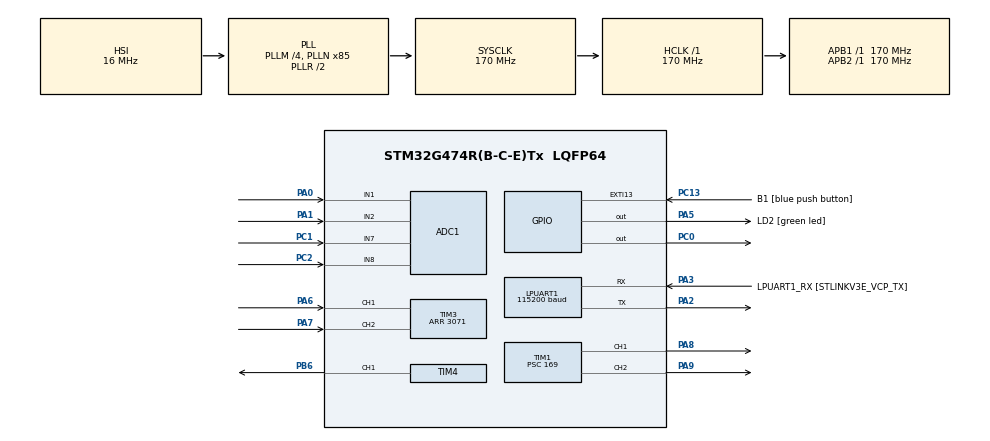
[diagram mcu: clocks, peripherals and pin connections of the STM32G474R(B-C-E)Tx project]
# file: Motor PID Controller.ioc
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ADC1.Channel-0\#ChannelRegularConversion=ADC_CHANNEL_1
ADC1.Channel-2\#ChannelRegularConversion=ADC_CHANNEL_2
ADC1.ContinuousConvMode=ENABLE
ADC1.DMAContinuousRequests=ENABLE
ADC1.ExternalTrigConv=ADC_EXTERNALTRIG_T15_TRGO
ADC1.NbrOfConversion=2
ADC1.NbrOfConversionFlag=1
ADC1.OffsetNumber-0\#ChannelRegularConversion=ADC_OFFSET_NONE
ADC1.OffsetNumber-2\#ChannelRegularConversion=ADC_OFFSET_NONE
ADC1.Rank-0\#ChannelRegularConversion=1
ADC1.Rank-2\#ChannelRegularConversion=2
ADC1.SamplingTime-0\#ChannelRegularConversion=ADC_SAMPLETIME_640CYCLES_5
ADC1.SamplingTime-2\#ChannelRegularConversion=ADC_SAMPLETIME_640CYCLES_5
ADC1.master=1
ARM.CMSIS-DSP.1.15.0.CMSISJjDSP=Source
ARM.CMSIS.6.0.0.CMSISJjCORE=true
Dma.ADC1.0.Direction=DMA_PERIPH_TO_MEMORY
Dma.ADC1.0.EventEnable=DISABLE
Dma.ADC1.0.Instance=DMA2_Channel1
Dma.ADC1.0.MemDataAlignment=DMA_MDATAALIGN_HALFWORD
Dma.ADC1.0.MemInc=DMA_MINC_ENABLE
Dma.ADC1.0.Mode=DMA_CIRCULAR
Dma.ADC1.0.PeriphDataAlignment=DMA_PDATAALIGN_HALFWORD
Dma.ADC1.0.PeriphInc=DMA_PINC_DISABLE
Dma.ADC1.0.Polarity=HAL_DMAMUX_REQ_GEN_RISING
Dma.ADC1.0.Priority=DMA_PRIORITY_LOW
Dma.ADC1.0.RequestNumber=1
Dma.ADC1.0.SignalID=NONE
Dma.ADC1.0.SyncEnable=DISABLE
Dma.ADC1.0.SyncPolarity=HAL_DMAMUX_SYNC_NO_EVENT
Dma.ADC1.0.SyncRequestNumber=1
Dma.ADC1.0.SyncSignalID=NONE
Dma.LPUART1_RX.1.Direction=DMA_PERIPH_TO_MEMORY
Dma.LPUART1_RX.1.EventEnable=DISABLE
Dma.LPUART1_RX.1.Instance=DMA1_Channel1
Dma.LPUART1_RX.1.MemDataAlignment=DMA_MDATAALIGN_BYTE
Dma.LPUART1_RX.1.MemInc=DMA_MINC_ENABLE
Dma.LPUART1_RX.1.Mode=DMA_CIRCULAR
Dma.LPUART1_RX.1.PeriphDataAlignment=DMA_PDATAALIGN_BYTE
Dma.LPUART1_RX.1.PeriphInc=DMA_PINC_DISABLE
Dma.LPUART1_RX.1.Polarity=HAL_DMAMUX_REQ_GEN_RISING
Dma.LPUART1_RX.1.Priority=DMA_PRIORITY_LOW
Dma.LPUART1_RX.1.RequestNumber=1
Dma.LPUART1_RX.1.SignalID=NONE
Dma.LPUART1_RX.1.SyncEnable=DISABLE
Dma.LPUART1_RX.1.SyncPolarity=HAL_DMAMUX_SYNC_NO_EVENT
Dma.LPUART1_RX.1.SyncRequestNumber=1
Dma.LPUART1_RX.1.SyncSignalID=NONE
Dma.LPUART1_TX.2.Direction=DMA_MEMORY_TO_PERIPH
Dma.LPUART1_TX.2.EventEnable=DISABLE
Dma.LPUART1_TX.2.Instance=DMA1_Channel2
Dma.LPUART1_TX.2.MemDataAlignment=DMA_MDATAALIGN_BYTE
Dma.LPUART1_TX.2.MemInc=DMA_MINC_ENABLE
Dma.LPUART1_TX.2.Mode=DMA_NORMAL
Dma.LPUART1_TX.2.PeriphDataAlignment=DMA_PDATAALIGN_BYTE
Dma.LPUART1_TX.2.PeriphInc=DMA_PINC_DISABLE
Dma.LPUART1_TX.2.Polarity=HAL_DMAMUX_REQ_GEN_RISING
Dma.LPUART1_TX.2.Priority=DMA_PRIORITY_LOW
Dma.LPUART1_TX.2.RequestNumber=1
Dma.LPUART1_TX.2.SignalID=NONE
Dma.LPUART1_TX.2.SyncEnable=DISABLE
Dma.LPUART1_TX.2.SyncPolarity=HAL_DMAMUX_SYNC_NO_EVENT
Dma.LPUART1_TX.2.SyncRequestNumber=1
Dma.LPUART1_TX.2.SyncSignalID=NONE
Dma.Request0=ADC1
Dma.Request1=LPUART1_RX
Dma.Request2=LPUART1_TX
LPUART1.BaudRate=115200
Mcu.Family=STM32G4
Mcu.Name=STM32G474R(B-C-E)Tx
Mcu.Package=LQFP64
NVIC.ADC1_2_IRQn=true\:0\:0\:false\:false\:true\:true\:true\:true
NVIC.DMA1_Channel1_IRQn=true\:0\:0\:false\:false\:true\:false\:true\:true
NVIC.DMA1_Channel2_IRQn=true\:0\:0\:false\:false\:true\:false\:true\:true
NVIC.DMA2_Channel1_IRQn=true\:0\:0\:false\:false\:true\:false\:true\:true
NVIC.EXTI15_10_IRQn=true\:0\:0\:false\:false\:true\:true\:true\:true
NVIC.LPUART1_IRQn=true\:0\:0\:false\:false\:true\:true\:true\:true
NVIC.PriorityGroup=NVIC_PRIORITYGROUP_4
NVIC.TIM1_BRK_TIM15_IRQn=true\:0\:0\:false\:false\:true\:true\:true\:true
NVIC.TIM2_IRQn=true\:0\:0\:false\:false\:true\:true\:true\:true
PA0.Mode=IN1-Single-Ended
PA0.Signal=ADC1_IN1
PA1.Mode=IN2-Single-Ended
PA1.Signal=ADC1_IN2
PA13.GPIO_Label=T_SWDIO
PA13.Mode=Serial_Wire
PA13.Signal=SYS_JTMS-SWDIO
PA14.GPIO_Label=T_SWCLK
PA14.Mode=Serial_Wire
PA14.Signal=SYS_JTCK-SWCLK
PA2.Mode=Asynchronous
PA2.Signal=LPUART1_TX
PA3.GPIO_Label=LPUART1_RX [STLINKV3E_VCP_TX]
PA3.Mode=Asynchronous
PA3.Signal=LPUART1_RX
PA5.GPIO_Label=LD2 [green led]
PA5.Signal=GPIO_Output
PA6.Signal=S_TIM3_CH1
PA7.Signal=S_TIM3_CH2
PA8.Signal=S_TIM1_CH1
PA9.Signal=S_TIM1_CH2
PB3.GPIO_Label=T_SWO
PB3.Signal=SYS_JTDO-SWO
PB6.Signal=S_TIM4_CH1
PC0.Signal=GPIO_Output
PC1.Mode=IN7-Differential
PC1.Signal=ADC1_IN7
PC13.GPIO_Label=B1 [blue push button]
PC13.Signal=GPXTI13
PC14-OSC32_IN.Mode=LSE-External-Oscillator
PC14-OSC32_IN.Signal=RCC_OSC32_IN
PC15-OSC32_OUT.Mode=LSE-External-Oscillator
PC15-OSC32_OUT.Signal=RCC_OSC32_OUT
PC2.Mode=IN7-Differential
PC2.Signal=ADC1_IN8
PF0-OSC_IN.Mode=HSE-External-Oscillator
PF0-OSC_IN.Signal=RCC_OSC_IN
PF1-OSC_OUT.Mode=HSE-External-Oscillator
PF1-OSC_OUT.Signal=RCC_OSC_OUT
ProjectManager.HeapSize=0x200
ProjectManager.StackSize=0x400
ProjectManager.TargetToolchain=STM32CubeIDE
RCC.ADC12Freq_Value=170000000
RCC.ADC345Freq_Value=170000000
RCC.AHBFreq_Value=170000000
RCC.APB1Freq_Value=170000000
RCC.APB1TimFreq_Value=170000000
RCC.APB2Freq_Value=170000000
RCC.APB2TimFreq_Value=170000000
RCC.CortexFreq_Value=170000000
RCC.EXTERNAL_CLOCK_VALUE=12288000
RCC.HCLKFreq_Value=170000000
RCC.HSE_VALUE=24000000
RCC.HSI48_VALUE=48000000
RCC.HSI_VALUE=16000000
RCC.PLLM=RCC_PLLM_DIV4
RCC.PLLN=85
RCC.RTCClockSelection=RCC_RTCCLKSOURCE_LSE
RCC.SYSCLKFreq_VALUE=170000000
RCC.SYSCLKSource=RCC_SYSCLKSOURCE_PLLCLK
RCC.USBFreq_Value=170000000
RCC.VCOOutputFreq_Value=340000000
SH.S_TIM1_CH1.0=TIM1_CH1,PWM Generation1 CH1
SH.S_TIM1_CH2.0=TIM1_CH2,PWM Generation2 CH2
SH.S_TIM3_CH1.0=TIM3_CH1,Encoder_Interface
SH.S_TIM3_CH2.0=TIM3_CH2,Encoder_Interface
SH.S_TIM4_CH1.0=TIM4_CH1,PWM Generation1 CH1
TIM1.Channel-PWM\ Generation1\ CH1=TIM_CHANNEL_1
TIM1.Channel-PWM\ Generation2\ CH2=TIM_CHANNEL_2
TIM1.PeriodNoDither=999
TIM1.Prescaler=169
TIM15.PeriodNoDither=999
TIM15.Prescaler=169
TIM15.TIM_MasterOutputTrigger=TIM_TRGO_UPDATE
TIM2.PeriodNoDither=999
TIM2.Prescaler=169
TIM3.EncoderMode=TIM_ENCODERMODE_TI12
TIM3.PeriodNoDither=3071
TIM4.Channel-PWM\ Generation1\ CH1=TIM_CHANNEL_1
TIM4.PeriodNoDither=999
TIM4.Prescaler=169
TIM5.Prescaler=169
VP_ARM.CMSIS-DSP_VS_CMSISJjDSP_1.15.0_1.15.0.Mode=CMSISJjDSP
VP_ARM.CMSIS_VS_CMSISJjCORE_6.0.0_6.0.0.Mode=CMSISJjCORE
VP_SYS_VS_DBSignals.Mode=DisableDeadBatterySignals
VP_TIM15_VS_ClockSourceINT.Mode=Internal
VP_TIM2_VS_ClockSourceINT.Mode=Internal
VP_TIM5_VS_ClockSourceINT.Mode=Internal
board=NUCLEO-G474RE

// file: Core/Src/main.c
/* USER CODE BEGIN Header */
/**
 ******************************************************************************
 * @file           : main.c
 * @brief          : Main program body
 ******************************************************************************
 * @attention
 *
 * Copyright (c) 2024 STMicroelectronics.
 * All rights reserved.
 *
 * This software is licensed under terms that can be found in the LICENSE file
 * in the root directory of this software component.
 * If no LICENSE file comes with this software, it is provided AS-IS.
 *
 ******************************************************************************
 */
/* USER CODE END Header */
#include "main.h"

/* USER CODE BEGIN Includes */
#include "arm_math.h"
#include "math.h"
#include "stdio.h"
#include "string.h"

/* USER CODE END Includes */

ADC_HandleTypeDef hadc1;
DMA_HandleTypeDef hdma_adc1;

UART_HandleTypeDef hlpuart1;
DMA_HandleTypeDef hdma_lpuart1_rx;
DMA_HandleTypeDef hdma_lpuart1_tx;

TIM_HandleTypeDef htim1;
TIM_HandleTypeDef htim2;
TIM_HandleTypeDef htim3;
TIM_HandleTypeDef htim4;
TIM_HandleTypeDef htim5;
TIM_HandleTypeDef htim15;

/* USER CODE BEGIN PV */
//-------------------------------Part1&3:Motor PID-------------------------------//
int mode_status = 1;

uint64_t _micros = 0;
uint16_t InputRead[400] = { 0 };
uint64_t sumEncode = 0;
uint64_t sumTrimpot = 0;
uint64_t sumTrimpot2 = 0;

uint32_t avgEncode = 0;
uint16_t avgTrimpot = 0;
uint16_t avgTrimpot2 = 0;
uint16_t test = 0;
int16_t RxInt = 0;

float cmd = 0;
float cmd_1 = 0;

int16_t Error = 0;
int16_t Error_1 = 0;
int16_t Error_2 = 0;

int16_t directError = 0;

uint16_t PWM = 0;
uint8_t direction = 0;
int16_t wrappedError = 0;

float Kp = 0.5;
float Ki = 0.00015;
float Kd = 0.000001;
float A0 = 0;
float A1 = 0;
float A2 = 0;

uint8_t TxBuffer[4];
int8_t RxBuffer[4];
uint8_t HigherPos = 0;
uint8_t LowerPos = 0;

/* direction = 0 error -
 direction = 1 error +
 */

arm_pid_instance_f32 PID = { 0 };
//-------------------------------------------------------------------------------//
//----------------------------------Part2:QEI------------------------------------//
uint32_t QEIReadRaw;
uint16_t ADC[400] = { 0 };
int sumA = 0;
int avgA = 0;

int Trim = 0;

int InA = 0;
int InB = 0;

int16_t period = 1000;
int16_t duty = 0;
int16_t x = 0;

float deg = 0;
float rad = 0;

int16_t error = 0;
float sum_e = 0;

float Kp_QEI = 0.5;
float Ki_QEI = 0.1;
float Kd_QEI = 0.001;

float error_p = 0;
float u = 0;

float pu1 = 0;
float pe1 = 0;
float pe2 = 0;
float delta_u = 0;

/* USER CODE END PV */

void SystemClock_Config(void);
static void MX_GPIO_Init(void);
static void MX_DMA_Init(void);
static void MX_TIM3_Init(void);
static void MX_ADC1_Init(void);
static void MX_TIM15_Init(void);
static void MX_TIM5_Init(void);
static void MX_TIM4_Init(void);
static void MX_LPUART1_UART_Init(void);
static void MX_TIM1_Init(void);
static void MX_TIM2_Init(void);
/* USER CODE BEGIN PFP */
void Mode_LD2();
//-------------------------------Part1&3:Motor PID-------------------------------//
uint64_t micros();
void PIDcalculate();
void motorControl();
void Communication();
void UARTDMAconfig();
void updateInput();
//-------------------------------------------------------------------------------//
//----------------------------------Part2:QEI------------------------------------//
void motor();
void PID_QEI();
void ER();
void PID2();
/* USER CODE END PFP */

int main(void)
{

  /* MCU Configuration--------------------------------------------------------*/

  /* Reset of all peripherals, Initializes the Flash interface and the Systick. */
  HAL_Init();

  /* Configure the system clock */
  SystemClock_Config();

  /* Initialize all configured peripherals */
  MX_GPIO_Init();
  MX_DMA_Init();
  MX_TIM3_Init();
  MX_ADC1_Init();
  MX_TIM15_Init();
  MX_TIM5_Init();
  MX_TIM4_Init();
  MX_LPUART1_UART_Init();
  MX_TIM1_Init();
  MX_TIM2_Init();
  /* USER CODE BEGIN 2 */
	//-------------------------------Part1&3:Motor PID-------------------------------//
	UARTDMAconfig();

//	HAL_UART_Receive_DMA(&hlpuart1, RxBuffer, 4);
	HAL_ADC_Start_DMA(&hadc1, InputRead, 400); // DMA Read
	HAL_TIM_Base_Start_IT(&htim15);
	HAL_TIM_Base_Start(&htim5); // system time clock

	HAL_TIM_Base_Start(&htim4);  //motor A2
	HAL_TIM_PWM_Start(&htim4, TIM_CHANNEL_1);

	__HAL_TIM_SET_COMPARE(&htim4, TIM_CHANNEL_1, 0); //for Check Timer

	HAL_GPIO_WritePin(GPIOC, GPIO_PIN_0, SET);
	//-------------------------------------------------------------------------------//
	//----------------------------------Part2:QEI------------------------------------//
	HAL_TIM_Base_Start(&htim3);
	HAL_TIM_Encoder_Start(&htim3, TIM_CHANNEL_ALL);

	HAL_TIM_Base_Start_IT(&htim2);
	HAL_TIM_Base_Start(&htim2);

	HAL_TIM_Base_Start(&htim1);
	HAL_TIM_PWM_Start(&htim1, TIM_CHANNEL_1);
	HAL_TIM_PWM_Start(&htim1, TIM_CHANNEL_2);

	HAL_ADC_Start_DMA(&hadc1, ADC, 400);
	//-------------------------------------------------------------------------------//
  /* USER CODE END 2 */

  /* Infinite loop */
	while (1) {

    /* USER CODE BEGIN 3 */
//	  test = __HAL_TIM_GET_COUNTER(&htim5);
		Mode_LD2();
		Communication();
		//QEIReadRaw = __HAL_TIM_GET_COUNTER(&htim3);
		if (mode_status == 1) {
			//PWM = 0;

			duty = 0;
		} else if (mode_status == 2) {
			PWM = 0;
			PID_QEI();

		} else if (mode_status == 3) {
			PWM = abs(RxInt);
			duty = 0;
			if (RxInt >= 0)
				direction = 1;
			else
				direction = 0;
		}
		motorControl();
		motor();

		//updateInput();

	}
  /* USER CODE END 3 */
}

void SystemClock_Config(void)
{
  RCC_OscInitTypeDef RCC_OscInitStruct = {0};
  RCC_ClkInitTypeDef RCC_ClkInitStruct = {0};

  /** Configure the main internal regulator output voltage
  */
  HAL_PWREx_ControlVoltageScaling(PWR_REGULATOR_VOLTAGE_SCALE1_BOOST);

  /** Initializes the RCC Oscillators according to the specified parameters
  * in the RCC_OscInitTypeDef structure.
  */
  RCC_OscInitStruct.OscillatorType = RCC_OSCILLATORTYPE_HSI;
  RCC_OscInitStruct.HSIState = RCC_HSI_ON;
  RCC_OscInitStruct.HSICalibrationValue = RCC_HSICALIBRATION_DEFAULT;
  RCC_OscInitStruct.PLL.PLLState = RCC_PLL_ON;
  RCC_OscInitStruct.PLL.PLLSource = RCC_PLLSOURCE_HSI;
  RCC_OscInitStruct.PLL.PLLM = RCC_PLLM_DIV4;
  RCC_OscInitStruct.PLL.PLLN = 85;
  RCC_OscInitStruct.PLL.PLLP = RCC_PLLP_DIV2;
  RCC_OscInitStruct.PLL.PLLQ = RCC_PLLQ_DIV2;
  RCC_OscInitStruct.PLL.PLLR = RCC_PLLR_DIV2;
  if (HAL_RCC_OscConfig(&RCC_OscInitStruct) != HAL_OK)
  {
    Error_Handler();
  }

  /** Initializes the CPU, AHB and APB buses clocks
  */
  RCC_ClkInitStruct.ClockType = RCC_CLOCKTYPE_HCLK|RCC_CLOCKTYPE_SYSCLK
                              |RCC_CLOCKTYPE_PCLK1|RCC_CLOCKTYPE_PCLK2;
  RCC_ClkInitStruct.SYSCLKSource = RCC_SYSCLKSOURCE_PLLCLK;
  RCC_ClkInitStruct.AHBCLKDivider = RCC_SYSCLK_DIV1;
  RCC_ClkInitStruct.APB1CLKDivider = RCC_HCLK_DIV1;
  RCC_ClkInitStruct.APB2CLKDivider = RCC_HCLK_DIV1;

  if (HAL_RCC_ClockConfig(&RCC_ClkInitStruct, FLASH_LATENCY_4) != HAL_OK)
  {
    Error_Handler();
  }
}

static void MX_ADC1_Init(void)
{

  ADC_MultiModeTypeDef multimode = {0};
  ADC_ChannelConfTypeDef sConfig = {0};

  /** Common config
  */
  hadc1.Instance = ADC1;
  hadc1.Init.ClockPrescaler = ADC_CLOCK_SYNC_PCLK_DIV4;
  hadc1.Init.Resolution = ADC_RESOLUTION_12B;
  hadc1.Init.DataAlign = ADC_DATAALIGN_RIGHT;
  hadc1.Init.GainCompensation = 0;
  hadc1.Init.ScanConvMode = ADC_SCAN_ENABLE;
  hadc1.Init.EOCSelection = ADC_EOC_SINGLE_CONV;
  hadc1.Init.LowPowerAutoWait = DISABLE;
  hadc1.Init.ContinuousConvMode = ENABLE;
  hadc1.Init.NbrOfConversion = 2;
  hadc1.Init.DiscontinuousConvMode = DISABLE;
  hadc1.Init.ExternalTrigConv = ADC_EXTERNALTRIG_T15_TRGO;
  hadc1.Init.ExternalTrigConvEdge = ADC_EXTERNALTRIGCONVEDGE_RISING;
  hadc1.Init.DMAContinuousRequests = ENABLE;
  hadc1.Init.Overrun = ADC_OVR_DATA_PRESERVED;
  hadc1.Init.OversamplingMode = DISABLE;
  if (HAL_ADC_Init(&hadc1) != HAL_OK)
  {
    Error_Handler();
  }

  /** Configure the ADC multi-mode
  */
  multimode.Mode = ADC_MODE_INDEPENDENT;
  if (HAL_ADCEx_MultiModeConfigChannel(&hadc1, &multimode) != HAL_OK)
  {
    Error_Handler();
  }

  /** Configure Regular Channel
  */
  sConfig.Channel = ADC_CHANNEL_1;
  sConfig.Rank = ADC_REGULAR_RANK_1;
  sConfig.SamplingTime = ADC_SAMPLETIME_640CYCLES_5;
  sConfig.SingleDiff = ADC_SINGLE_ENDED;
  sConfig.OffsetNumber = ADC_OFFSET_NONE;
  sConfig.Offset = 0;
  if (HAL_ADC_ConfigChannel(&hadc1, &sConfig) != HAL_OK)
  {
    Error_Handler();
  }

  /** Configure Regular Channel
  */
  sConfig.Channel = ADC_CHANNEL_2;
  sConfig.Rank = ADC_REGULAR_RANK_2;
  if (HAL_ADC_ConfigChannel(&hadc1, &sConfig) != HAL_OK)
  {
    Error_Handler();
  }

}

static void MX_LPUART1_UART_Init(void)
{

  hlpuart1.Instance = LPUART1;
  hlpuart1.Init.BaudRate = 115200;
  hlpuart1.Init.WordLength = UART_WORDLENGTH_8B;
  hlpuart1.Init.StopBits = UART_STOPBITS_1;
  hlpuart1.Init.Parity = UART_PARITY_NONE;
  hlpuart1.Init.Mode = UART_MODE_TX_RX;
  hlpuart1.Init.HwFlowCtl = UART_HWCONTROL_NONE;
  hlpuart1.Init.OneBitSampling = UART_ONE_BIT_SAMPLE_DISABLE;
  hlpuart1.Init.ClockPrescaler = UART_PRESCALER_DIV1;
  hlpuart1.AdvancedInit.AdvFeatureInit = UART_ADVFEATURE_NO_INIT;
  if (HAL_UART_Init(&hlpuart1) != HAL_OK)
  {
    Error_Handler();
  }
  if (HAL_UARTEx_SetTxFifoThreshold(&hlpuart1, UART_TXFIFO_THRESHOLD_1_8) != HAL_OK)
  {
    Error_Handler();
  }
  if (HAL_UARTEx_SetRxFifoThreshold(&hlpuart1, UART_RXFIFO_THRESHOLD_1_8) != HAL_OK)
  {
    Error_Handler();
  }
  if (HAL_UARTEx_DisableFifoMode(&hlpuart1) != HAL_OK)
  {
    Error_Handler();
  }

}

static void MX_TIM1_Init(void)
{

  TIM_MasterConfigTypeDef sMasterConfig = {0};
  TIM_OC_InitTypeDef sConfigOC = {0};
  TIM_BreakDeadTimeConfigTypeDef sBreakDeadTimeConfig = {0};

  htim1.Instance = TIM1;
  htim1.Init.Prescaler = 169;
  htim1.Init.CounterMode = TIM_COUNTERMODE_UP;
  htim1.Init.Period = 999;
  htim1.Init.ClockDivision = TIM_CLOCKDIVISION_DIV1;
  htim1.Init.RepetitionCounter = 0;
  htim1.Init.AutoReloadPreload = TIM_AUTORELOAD_PRELOAD_DISABLE;
  if (HAL_TIM_PWM_Init(&htim1) != HAL_OK)
  {
    Error_Handler();
  }
  sMasterConfig.MasterOutputTrigger = TIM_TRGO_RESET;
  sMasterConfig.MasterOutputTrigger2 = TIM_TRGO2_RESET;
  sMasterConfig.MasterSlaveMode = TIM_MASTERSLAVEMODE_DISABLE;
  if (HAL_TIMEx_MasterConfigSynchronization(&htim1, &sMasterConfig) != HAL_OK)
  {
    Error_Handler();
  }
  sConfigOC.OCMode = TIM_OCMODE_PWM1;
  sConfigOC.Pulse = 0;
  sConfigOC.OCPolarity = TIM_OCPOLARITY_HIGH;
  sConfigOC.OCNPolarity = TIM_OCNPOLARITY_HIGH;
  sConfigOC.OCFastMode = TIM_OCFAST_DISABLE;
  sConfigOC.OCIdleState = TIM_OCIDLESTATE_RESET;
  sConfigOC.OCNIdleState = TIM_OCNIDLESTATE_RESET;
  if (HAL_TIM_PWM_ConfigChannel(&htim1, &sConfigOC, TIM_CHANNEL_1) != HAL_OK)
  {
    Error_Handler();
  }
  if (HAL_TIM_PWM_ConfigChannel(&htim1, &sConfigOC, TIM_CHANNEL_2) != HAL_OK)
  {
    Error_Handler();
  }
  sBreakDeadTimeConfig.OffStateRunMode = TIM_OSSR_DISABLE;
  sBreakDeadTimeConfig.OffStateIDLEMode = TIM_OSSI_DISABLE;
  sBreakDeadTimeConfig.LockLevel = TIM_LOCKLEVEL_OFF;
  sBreakDeadTimeConfig.DeadTime = 0;
  sBreakDeadTimeConfig.BreakState = TIM_BREAK_DISABLE;
  sBreakDeadTimeConfig.BreakPolarity = TIM_BREAKPOLARITY_HIGH;
  sBreakDeadTimeConfig.BreakFilter = 0;
  sBreakDeadTimeConfig.BreakAFMode = TIM_BREAK_AFMODE_INPUT;
  sBreakDeadTimeConfig.Break2State = TIM_BREAK2_DISABLE;
  sBreakDeadTimeConfig.Break2Polarity = TIM_BREAK2POLARITY_HIGH;
  sBreakDeadTimeConfig.Break2Filter = 0;
  sBreakDeadTimeConfig.Break2AFMode = TIM_BREAK_AFMODE_INPUT;
  sBreakDeadTimeConfig.AutomaticOutput = TIM_AUTOMATICOUTPUT_DISABLE;
  if (HAL_TIMEx_ConfigBreakDeadTime(&htim1, &sBreakDeadTimeConfig) != HAL_OK)
  {
    Error_Handler();
  }
  HAL_TIM_MspPostInit(&htim1);

}

static void MX_TIM2_Init(void)
{

  TIM_ClockConfigTypeDef sClockSourceConfig = {0};
  TIM_MasterConfigTypeDef sMasterConfig = {0};

  htim2.Instance = TIM2;
  htim2.Init.Prescaler = 169;
  htim2.Init.CounterMode = TIM_COUNTERMODE_UP;
  htim2.Init.Period = 999;
  htim2.Init.ClockDivision = TIM_CLOCKDIVISION_DIV1;
  htim2.Init.AutoReloadPreload = TIM_AUTORELOAD_PRELOAD_DISABLE;
  if (HAL_TIM_Base_Init(&htim2) != HAL_OK)
  {
    Error_Handler();
  }
  sClockSourceConfig.ClockSource = TIM_CLOCKSOURCE_INTERNAL;
  if (HAL_TIM_ConfigClockSource(&htim2, &sClockSourceConfig) != HAL_OK)
  {
    Error_Handler();
  }
  sMasterConfig.MasterOutputTrigger = TIM_TRGO_RESET;
  sMasterConfig.MasterSlaveMode = TIM_MASTERSLAVEMODE_DISABLE;
  if (HAL_TIMEx_MasterConfigSynchronization(&htim2, &sMasterConfig) != HAL_OK)
  {
    Error_Handler();
  }

}

static void MX_TIM3_Init(void)
{

  TIM_Encoder_InitTypeDef sConfig = {0};
  TIM_MasterConfigTypeDef sMasterConfig = {0};

  htim3.Instance = TIM3;
  htim3.Init.Prescaler = 0;
  htim3.Init.CounterMode = TIM_COUNTERMODE_UP;
  htim3.Init.Period = 3071;
  htim3.Init.ClockDivision = TIM_CLOCKDIVISION_DIV1;
  htim3.Init.AutoReloadPreload = TIM_AUTORELOAD_PRELOAD_DISABLE;
  sConfig.EncoderMode = TIM_ENCODERMODE_TI12;
  sConfig.IC1Polarity = TIM_ICPOLARITY_RISING;
  sConfig.IC1Selection = TIM_ICSELECTION_DIRECTTI;
  sConfig.IC1Prescaler = TIM_ICPSC_DIV1;
  sConfig.IC1Filter = 0;
  sConfig.IC2Polarity = TIM_ICPOLARITY_RISING;
  sConfig.IC2Selection = TIM_ICSELECTION_DIRECTTI;
  sConfig.IC2Prescaler = TIM_ICPSC_DIV1;
  sConfig.IC2Filter = 0;
  if (HAL_TIM_Encoder_Init(&htim3, &sConfig) != HAL_OK)
  {
    Error_Handler();
  }
  sMasterConfig.MasterOutputTrigger = TIM_TRGO_RESET;
  sMasterConfig.MasterSlaveMode = TIM_MASTERSLAVEMODE_DISABLE;
  if (HAL_TIMEx_MasterConfigSynchronization(&htim3, &sMasterConfig) != HAL_OK)
  {
    Error_Handler();
  }

}

static void MX_TIM4_Init(void)
{

  TIM_MasterConfigTypeDef sMasterConfig = {0};
  TIM_OC_InitTypeDef sConfigOC = {0};

  htim4.Instance = TIM4;
  htim4.Init.Prescaler = 169;
  htim4.Init.CounterMode = TIM_COUNTERMODE_UP;
  htim4.Init.Period = 999;
  htim4.Init.ClockDivision = TIM_CLOCKDIVISION_DIV1;
  htim4.Init.AutoReloadPreload = TIM_AUTORELOAD_PRELOAD_DISABLE;
  if (HAL_TIM_PWM_Init(&htim4) != HAL_OK)
  {
    Error_Handler();
  }
  sMasterConfig.MasterOutputTrigger = TIM_TRGO_RESET;
  sMasterConfig.MasterSlaveMode = TIM_MASTERSLAVEMODE_DISABLE;
  if (HAL_TIMEx_MasterConfigSynchronization(&htim4, &sMasterConfig) != HAL_OK)
  {
    Error_Handler();
  }
  sConfigOC.OCMode = TIM_OCMODE_PWM1;
  sConfigOC.Pulse = 0;
  sConfigOC.OCPolarity = TIM_OCPOLARITY_HIGH;
  sConfigOC.OCFastMode = TIM_OCFAST_DISABLE;
  if (HAL_TIM_PWM_ConfigChannel(&htim4, &sConfigOC, TIM_CHANNEL_1) != HAL_OK)
  {
    Error_Handler();
  }
  HAL_TIM_MspPostInit(&htim4);

}

static void MX_TIM5_Init(void)
{

  TIM_ClockConfigTypeDef sClockSourceConfig = {0};
  TIM_MasterConfigTypeDef sMasterConfig = {0};

  htim5.Instance = TIM5;
  htim5.Init.Prescaler = 169;
  htim5.Init.CounterMode = TIM_COUNTERMODE_UP;
  htim5.Init.Period = 4.294967295E9;
  htim5.Init.ClockDivision = TIM_CLOCKDIVISION_DIV1;
  htim5.Init.AutoReloadPreload = TIM_AUTORELOAD_PRELOAD_DISABLE;
  if (HAL_TIM_Base_Init(&htim5) != HAL_OK)
  {
    Error_Handler();
  }
  sClockSourceConfig.ClockSource = TIM_CLOCKSOURCE_INTERNAL;
  if (HAL_TIM_ConfigClockSource(&htim5, &sClockSourceConfig) != HAL_OK)
  {
    Error_Handler();
  }
  sMasterConfig.MasterOutputTrigger = TIM_TRGO_RESET;
  sMasterConfig.MasterSlaveMode = TIM_MASTERSLAVEMODE_DISABLE;
  if (HAL_TIMEx_MasterConfigSynchronization(&htim5, &sMasterConfig) != HAL_OK)
  {
    Error_Handler();
  }

}

static void MX_TIM15_Init(void)
{

  TIM_ClockConfigTypeDef sClockSourceConfig = {0};
  TIM_MasterConfigTypeDef sMasterConfig = {0};

  htim15.Instance = TIM15;
  htim15.Init.Prescaler = 169;
  htim15.Init.CounterMode = TIM_COUNTERMODE_UP;
  htim15.Init.Period = 999;
  htim15.Init.ClockDivision = TIM_CLOCKDIVISION_DIV1;
  htim15.Init.RepetitionCounter = 0;
  htim15.Init.AutoReloadPreload = TIM_AUTORELOAD_PRELOAD_DISABLE;
  if (HAL_TIM_Base_Init(&htim15) != HAL_OK)
  {
    Error_Handler();
  }
  sClockSourceConfig.ClockSource = TIM_CLOCKSOURCE_INTERNAL;
  if (HAL_TIM_ConfigClockSource(&htim15, &sClockSourceConfig) != HAL_OK)
  {
    Error_Handler();
  }
  sMasterConfig.MasterOutputTrigger = TIM_TRGO_UPDATE;
  sMasterConfig.MasterSlaveMode = TIM_MASTERSLAVEMODE_DISABLE;
  if (HAL_TIMEx_MasterConfigSynchronization(&htim15, &sMasterConfig) != HAL_OK)
  {
    Error_Handler();
  }

}

static void MX_DMA_Init(void)
{

  /* DMA controller clock enable */
  __HAL_RCC_DMAMUX1_CLK_ENABLE();
  __HAL_RCC_DMA2_CLK_ENABLE();
  __HAL_RCC_DMA1_CLK_ENABLE();

  /* DMA interrupt init */
  /* DMA1_Channel1_IRQn interrupt configuration */
  HAL_NVIC_SetPriority(DMA1_Channel1_IRQn, 0, 0);
  HAL_NVIC_EnableIRQ(DMA1_Channel1_IRQn);
  /* DMA1_Channel2_IRQn interrupt configuration */
  HAL_NVIC_SetPriority(DMA1_Channel2_IRQn, 0, 0);
  HAL_NVIC_EnableIRQ(DMA1_Channel2_IRQn);
  /* DMA2_Channel1_IRQn interrupt configuration */
  HAL_NVIC_SetPriority(DMA2_Channel1_IRQn, 0, 0);
  HAL_NVIC_EnableIRQ(DMA2_Channel1_IRQn);

}

static void MX_GPIO_Init(void)
{
  GPIO_InitTypeDef GPIO_InitStruct = {0};

  /* GPIO Ports Clock Enable */
  __HAL_RCC_GPIOC_CLK_ENABLE();
  __HAL_RCC_GPIOF_CLK_ENABLE();
  __HAL_RCC_GPIOA_CLK_ENABLE();
  __HAL_RCC_GPIOB_CLK_ENABLE();

  /*Configure GPIO pin Output Level */
  HAL_GPIO_WritePin(GPIOC, GPIO_PIN_0, GPIO_PIN_RESET);

  /*Configure GPIO pin Output Level */
  HAL_GPIO_WritePin(LD2_GPIO_Port, LD2_Pin, GPIO_PIN_RESET);

  /*Configure GPIO pin : B1_Pin */
  GPIO_InitStruct.Pin = B1_Pin;
  GPIO_InitStruct.Mode = GPIO_MODE_IT_RISING;
  GPIO_InitStruct.Pull = GPIO_NOPULL;
  HAL_GPIO_Init(B1_GPIO_Port, &GPIO_InitStruct);

  /*Configure GPIO pin : PC0 */
  GPIO_InitStruct.Pin = GPIO_PIN_0;
  GPIO_InitStruct.Mode = GPIO_MODE_OUTPUT_PP;
  GPIO_InitStruct.Pull = GPIO_NOPULL;
  GPIO_InitStruct.Speed = GPIO_SPEED_FREQ_LOW;
  HAL_GPIO_Init(GPIOC, &GPIO_InitStruct);

  /*Configure GPIO pin : LD2_Pin */
  GPIO_InitStruct.Pin = LD2_Pin;
  GPIO_InitStruct.Mode = GPIO_MODE_OUTPUT_PP;
  GPIO_InitStruct.Pull = GPIO_NOPULL;
  GPIO_InitStruct.Speed = GPIO_SPEED_FREQ_LOW;
  HAL_GPIO_Init(LD2_GPIO_Port, &GPIO_InitStruct);

  /* EXTI interrupt init*/
  HAL_NVIC_SetPriority(EXTI15_10_IRQn, 0, 0);
  HAL_NVIC_EnableIRQ(EXTI15_10_IRQn);

}

/* USER CODE BEGIN 4 */
//------------------------------Part1&3:Motor PID----------------------------------//

void HAL_TIM_PeriodElapsedCallback(TIM_HandleTypeDef *htim) {
	if (htim == &htim5) {
		_micros += UINT32_MAX;
	}
	if (htim == &htim2) {
			updateInput();
			QEIReadRaw = __HAL_TIM_GET_COUNTER(&htim3);
		}
}

uint64_t micros() {
	return __HAL_TIM_GET_COUNTER(&htim5) + _micros;
}

void updateInput() {
	sumEncode = 0;
	sumTrimpot = 0;
	for (int i = 0; i < 200; i++) {
		sumEncode += InputRead[2 * i];
		sumTrimpot += InputRead[1 + (2 * i)];
	}

	avgEncode = sumEncode / 200;
	avgTrimpot = sumTrimpot / 200;
/*
		if (mode_status == 2)
		{
			avgTrimpot = 2048;
		}
*/
	directError = avgTrimpot - avgEncode;

	if (directError > 0) {
		wrappedError = directError - 4096; // Moving backward with wrap-around
	} else {
		wrappedError = directError + 4096; // Moving forward with wrap-around
	}

	if (abs(directError) < abs(wrappedError)) {
		Error = directError;
	} else {
		Error = wrappedError;
	}

	if (Error < 0) {
		direction = 0; // Counter-clockwise / backward
	} else {
		direction = 1; // Clockwise / forward
	}

	PIDcalculate();
	RxInt = (((int16_t)RxBuffer[2] << 8)) + ((int8_t)(RxBuffer[1]));

//	PWM = arm_pid_f32(&PID, Error);
}

void motorControl() {
		if (direction == 0) // ทว�?เ�?�?ม
				{
			HAL_GPIO_WritePin(GPIOC, GPIO_PIN_0, RESET);
			__HAL_TIM_SET_COMPARE(&htim4, TIM_CHANNEL_1, PWM);
		} else if (direction == 1) // ตามเ�?�?ม
				{
			HAL_GPIO_WritePin(GPIOC, GPIO_PIN_0, SET);
			__HAL_TIM_SET_COMPARE(&htim4, TIM_CHANNEL_1, PWM);
		}
}

void Communication() {
	static uint16_t CommTime = 0;
	if (CommTime < micros()) {
		CommTime = micros() + 5000;
		HigherPos = (uint8_t) (avgEncode >> 8);
		LowerPos = (uint8_t) avgEncode;
		TxBuffer[0] = 69;
		TxBuffer[1] = HigherPos;
		TxBuffer[2] = LowerPos;
		TxBuffer[3] = 10;
		HAL_UART_Transmit_DMA(&hlpuart1, TxBuffer, 4);
	}
}

void PIDcalculate() {
	/* y[n] = y[n-1] + A0 * x[n] + A1 * x[n-1] + A2 * x[n-2]  */
	A0 = Kp + Ki + Kd;
	A1 = -Kp - (2 * Kd);
	A2 = Kd;

	cmd = cmd_1 + A0 * Error + A1 * Error_1 + A2 * Error_2;
	if (cmd > 1000 && direction == 1) // ตามเ�?�?ม Anti windup
			{
		cmd = 1000;
		direction = 1;
	} else if (cmd < -1000 && direction == 0) // ทว�?เ�?�?ม
			{
		cmd = -1000;
		direction = 0;
	}
	cmd_1 = cmd;
	Error_2 = Error_1;
	Error_1 = Error;

	PWM = fabs(cmd);
}

void UARTDMAconfig() {
	HAL_UART_Receive_DMA(&hlpuart1, RxBuffer, 4);
}

void HAL_UART_RxCpltCallback(UART_HandleTypeDef *uart) {

}
//------------------------------------------------------------------------------//
//----------------------------------Part2:QEI-----------------------------------//
void motor() {
	x = (period / 100) * duty;

	if (duty > 0) {
		InA = x;
		InB = 0;
	}

	else if (duty < 0) {
		InA = 0;
		InB = abs(x);
	}

	else if (duty == 0) {
		InA = 0;
		InB = 0;
	}

	//__HAL_TIM_SET_COMPARE(&htim4, TIM_CHANNEL_2, InA);
	__HAL_TIM_SET_COMPARE(&htim1, TIM_CHANNEL_1, InA);
	__HAL_TIM_SET_COMPARE(&htim1, TIM_CHANNEL_2, InB);
}

void PID_QEI()
{
	error = avgTrimpot - (QEIReadRaw*4096)/3072;

	delta_u = (Kp_QEI+Ki_QEI+Kd_QEI)*error-(Kp_QEI+2*Kd_QEI)*pe1+(Kd_QEI)*pe2;
	u = delta_u;

	if (u > 100)
	{
		u = 100;
	}
	else if (u < -100)
	{
		u = -100;
	}
	duty = u;
	pe2 = pe1;
	pe1 = error;
}
//-------------------------------------------------------------------------------//
//-------------------------------------Mode--------------------------------------//
void HAL_GPIO_EXTI_Callback(uint16_t GPIO_Pin) {
	if (GPIO_Pin == GPIO_PIN_13) {
		int pre_mode_status = mode_status;
		if (pre_mode_status == 3) {
			mode_status = 1;
		} else if (pre_mode_status == 1) {

			mode_status = 2;
		} else if (pre_mode_status == 2) {
			mode_status = 3;
		}
	}
}
void Mode_LD2() {
	if (mode_status == 1) {
		HAL_GPIO_WritePin(GPIOA, GPIO_PIN_5, GPIO_PIN_SET); //เปิดไฟ
	} else if (mode_status == 2) {
		HAL_GPIO_WritePin(GPIOA, GPIO_PIN_5, GPIO_PIN_RESET); //เปิดไฟ
	} else if (mode_status == 3) {
		static uint32_t timestamp = 0;
		if (timestamp <= HAL_GetTick()) {
			timestamp = HAL_GetTick() + 1000;
			HAL_GPIO_TogglePin(GPIOA, GPIO_PIN_5); // สลับสถานะของ LED
		}
	}
}
/* USER CODE END 4 */

void Error_Handler(void)
{
	__disable_irq();
	while (1) {
	}
}
